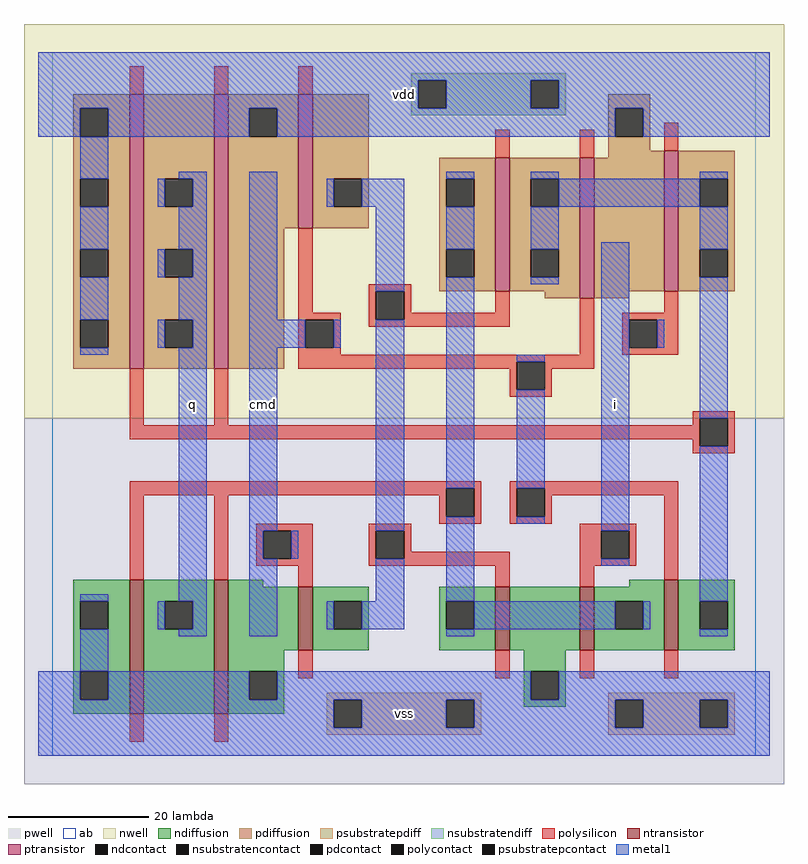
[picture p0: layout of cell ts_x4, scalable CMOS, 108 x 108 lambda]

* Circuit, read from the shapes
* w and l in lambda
.subckt ts_x4 cmd i q vdd vss
M1 q n1 vss vss nfet w=19 l=2 m=2
M2 n2 cmd vss vss nfet w=9 l=2
M3 vss n2 n1 vss nfet w=9 l=2
M4 n1 i vss vss nfet w=9 l=2
M5 n3 cmd n1 vss nfet w=10 l=2
M6 q n3 vdd vdd pfet w=39 l=2 m=2
M7 n2 cmd vdd vdd pfet w=19 l=2
M8 n3 n2 n1 vdd pfet w=19 l=2
M9 vdd cmd n3 vdd pfet w=20 l=2
M10 n3 i vdd vdd pfet w=20 l=2
.ends

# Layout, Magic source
magic
tech scmos
<< ab >>
rect 0 0 100 100
<< pwell >>
rect -4 -4 104 48
<< nwell >>
rect -4 48 104 104
<< polysilicon >>
rect 11 94 13 98
rect 23 94 25 98
rect 35 94 37 98
rect 63 85 65 89
rect 75 85 77 89
rect 87 86 89 90
rect 35 63 37 75
rect 45 66 51 67
rect 35 62 41 63
rect 35 58 36 62
rect 40 58 41 62
rect 45 62 46 66
rect 50 63 51 66
rect 63 63 65 66
rect 50 62 65 63
rect 45 61 65 62
rect 35 57 41 58
rect 75 57 77 65
rect 87 63 89 66
rect 81 62 89 63
rect 81 58 82 62
rect 86 58 89 62
rect 81 57 89 58
rect 35 56 77 57
rect 35 55 66 56
rect 11 47 13 55
rect 23 47 25 55
rect 65 52 66 55
rect 70 55 77 56
rect 70 52 71 55
rect 65 51 71 52
rect 91 48 97 49
rect 91 47 92 48
rect 11 45 92 47
rect 91 44 92 45
rect 96 44 97 48
rect 91 43 97 44
rect 11 38 61 39
rect 11 37 56 38
rect 11 25 13 37
rect 23 25 25 37
rect 55 34 56 37
rect 60 34 61 38
rect 55 33 61 34
rect 65 38 89 39
rect 65 34 66 38
rect 70 37 89 38
rect 70 34 71 37
rect 65 33 71 34
rect 29 32 37 33
rect 29 28 30 32
rect 34 28 37 32
rect 29 27 37 28
rect 45 32 51 33
rect 45 28 46 32
rect 50 29 51 32
rect 75 32 83 33
rect 50 28 65 29
rect 45 27 65 28
rect 35 24 37 27
rect 63 24 65 27
rect 75 28 78 32
rect 82 28 83 32
rect 75 27 83 28
rect 75 24 77 27
rect 87 25 89 37
rect 35 11 37 15
rect 63 11 65 15
rect 11 2 13 6
rect 23 2 25 6
rect 75 11 77 15
rect 87 11 89 15
<< ndiffusion >>
rect 3 22 11 25
rect 3 18 4 22
rect 8 18 11 22
rect 3 12 11 18
rect 3 8 4 12
rect 8 8 11 12
rect 3 6 11 8
rect 13 22 23 25
rect 13 18 16 22
rect 20 18 23 22
rect 13 6 23 18
rect 25 24 30 25
rect 82 24 87 25
rect 25 15 35 24
rect 37 22 45 24
rect 37 18 40 22
rect 44 18 45 22
rect 37 15 45 18
rect 55 22 63 24
rect 55 18 56 22
rect 60 18 63 22
rect 55 15 63 18
rect 65 15 75 24
rect 77 22 87 24
rect 77 18 80 22
rect 84 18 87 22
rect 77 15 87 18
rect 89 22 97 25
rect 89 18 92 22
rect 96 18 97 22
rect 89 15 97 18
rect 25 12 33 15
rect 25 8 28 12
rect 32 8 33 12
rect 67 12 73 15
rect 25 6 33 8
rect 67 8 68 12
rect 72 8 73 12
rect 67 7 73 8
<< pdiffusion >>
rect 3 92 11 94
rect 3 88 4 92
rect 8 88 11 92
rect 3 82 11 88
rect 3 78 4 82
rect 8 78 11 82
rect 3 72 11 78
rect 3 68 4 72
rect 8 68 11 72
rect 3 62 11 68
rect 3 58 4 62
rect 8 58 11 62
rect 3 55 11 58
rect 13 82 23 94
rect 13 78 16 82
rect 20 78 23 82
rect 13 72 23 78
rect 13 68 16 72
rect 20 68 23 72
rect 13 62 23 68
rect 13 58 16 62
rect 20 58 23 62
rect 13 55 23 58
rect 25 92 35 94
rect 25 88 28 92
rect 32 88 35 92
rect 25 75 35 88
rect 37 82 45 94
rect 79 92 85 94
rect 79 88 80 92
rect 84 88 85 92
rect 79 86 85 88
rect 79 85 87 86
rect 37 78 40 82
rect 44 78 45 82
rect 37 75 45 78
rect 55 82 63 85
rect 55 78 56 82
rect 60 78 63 82
rect 25 55 33 75
rect 55 72 63 78
rect 55 68 56 72
rect 60 68 63 72
rect 55 66 63 68
rect 65 82 75 85
rect 65 78 68 82
rect 72 78 75 82
rect 65 72 75 78
rect 65 68 68 72
rect 72 68 75 72
rect 65 66 75 68
rect 70 65 75 66
rect 77 66 87 85
rect 89 82 97 86
rect 89 78 92 82
rect 96 78 97 82
rect 89 72 97 78
rect 89 68 92 72
rect 96 68 97 72
rect 89 66 97 68
rect 77 65 82 66
<< metal1 >>
rect -2 96 102 100
rect -2 92 52 96
rect 56 92 68 96
rect 72 92 102 96
rect -2 88 4 92
rect 8 88 28 92
rect 32 88 80 92
rect 84 88 102 92
rect 4 82 8 88
rect 18 82 22 83
rect 15 78 16 82
rect 20 78 22 82
rect 4 72 8 78
rect 18 72 22 78
rect 15 68 16 72
rect 20 68 22 72
rect 4 62 8 68
rect 18 62 22 68
rect 15 58 16 62
rect 20 58 22 62
rect 4 57 8 58
rect 4 22 8 23
rect 18 22 22 58
rect 15 18 16 22
rect 20 18 22 22
rect 4 12 8 18
rect 18 17 22 18
rect 28 62 32 83
rect 56 82 60 83
rect 39 78 40 82
rect 44 78 50 82
rect 46 66 50 78
rect 28 58 36 62
rect 40 58 41 62
rect 28 32 32 58
rect 46 32 50 62
rect 28 28 30 32
rect 34 28 35 32
rect 28 17 32 28
rect 46 22 50 28
rect 39 18 40 22
rect 44 18 50 22
rect 56 72 60 78
rect 56 38 60 68
rect 68 82 72 83
rect 92 82 96 83
rect 72 78 92 82
rect 68 72 72 78
rect 68 67 72 68
rect 56 22 60 34
rect 66 56 70 57
rect 66 38 70 52
rect 66 33 70 34
rect 78 32 82 73
rect 92 72 96 78
rect 86 58 87 62
rect 78 27 82 28
rect 92 48 96 68
rect 92 22 96 44
rect 60 18 80 22
rect 84 18 85 22
rect 56 17 60 18
rect 92 17 96 18
rect -2 8 4 12
rect 8 8 28 12
rect 32 8 68 12
rect 72 8 102 12
rect -2 4 40 8
rect 44 4 56 8
rect 60 4 80 8
rect 84 4 92 8
rect 96 4 102 8
rect -2 0 102 4
<< ntransistor >>
rect 11 6 13 25
rect 23 6 25 25
rect 35 15 37 24
rect 63 15 65 24
rect 75 15 77 24
rect 87 15 89 25
<< ptransistor >>
rect 11 55 13 94
rect 23 55 25 94
rect 35 75 37 94
rect 63 66 65 85
rect 75 65 77 85
rect 87 66 89 86
<< polycontact >>
rect 36 58 40 62
rect 46 62 50 66
rect 82 58 86 62
rect 66 52 70 56
rect 92 44 96 48
rect 56 34 60 38
rect 66 34 70 38
rect 30 28 34 32
rect 46 28 50 32
rect 78 28 82 32
<< ndcontact >>
rect 4 18 8 22
rect 4 8 8 12
rect 16 18 20 22
rect 40 18 44 22
rect 56 18 60 22
rect 80 18 84 22
rect 92 18 96 22
rect 28 8 32 12
rect 68 8 72 12
<< pdcontact >>
rect 4 88 8 92
rect 4 78 8 82
rect 4 68 8 72
rect 4 58 8 62
rect 16 78 20 82
rect 16 68 20 72
rect 16 58 20 62
rect 28 88 32 92
rect 80 88 84 92
rect 40 78 44 82
rect 56 78 60 82
rect 56 68 60 72
rect 68 78 72 82
rect 68 68 72 72
rect 92 78 96 82
rect 92 68 96 72
<< psubstratepcontact >>
rect 40 4 44 8
rect 56 4 60 8
rect 80 4 84 8
rect 92 4 96 8
<< nsubstratencontact >>
rect 52 92 56 96
rect 68 92 72 96
<< psubstratepdiff >>
rect 39 8 61 9
rect 39 4 40 8
rect 44 4 56 8
rect 60 4 61 8
rect 79 8 97 9
rect 39 3 61 4
rect 79 4 80 8
rect 84 4 92 8
rect 96 4 97 8
rect 79 3 97 4
<< nsubstratendiff >>
rect 51 96 73 97
rect 51 92 52 96
rect 56 92 68 96
rect 72 92 73 96
rect 51 91 73 92
<< labels >>
rlabel metal1 20 50 20 50 6 q
rlabel metal1 30 50 30 50 6 cmd
rlabel metal1 50 6 50 6 6 vss
rlabel metal1 50 94 50 94 6 vdd
rlabel metal1 80 50 80 50 6 i
<< end >>
